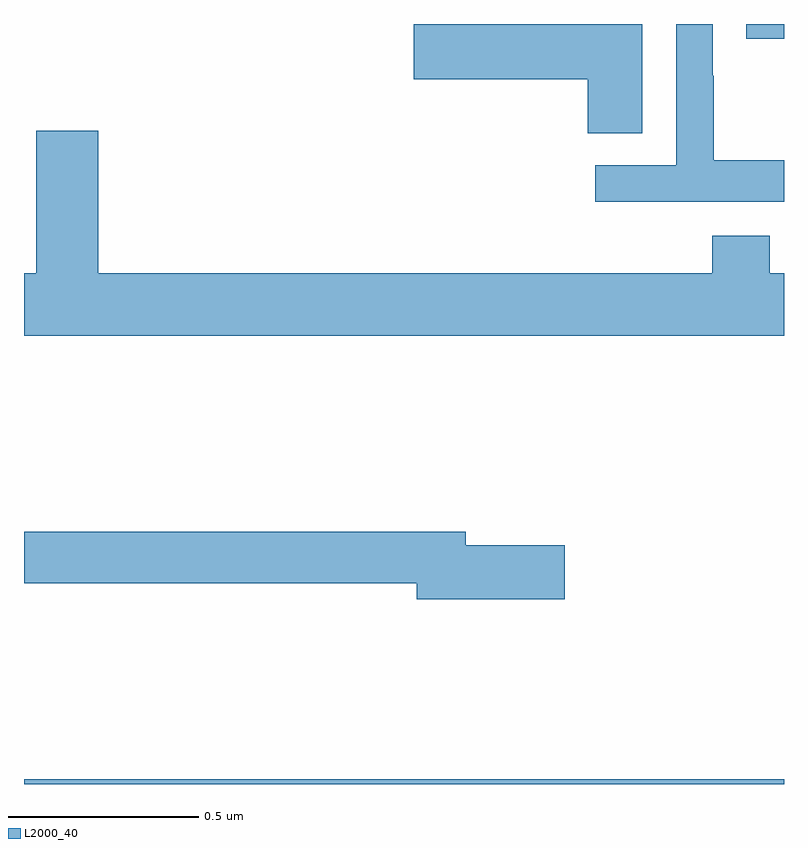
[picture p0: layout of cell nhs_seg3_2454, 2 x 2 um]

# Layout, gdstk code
import gdstk
lib = gdstk.Library(unit=1e-6, precision=1e-09)
def R(c, l, rs):  # rectangles x0, y0, x1, y1
    for r in rs: c.add(gdstk.rectangle(r[:2], r[2:], *l))
def P(c, l, *ps):  # polygons
    for p in ps: c.add(gdstk.Polygon(p, *l))
L2000_40 = (2000, 40)

nhs_seg3_2454 = lib.new_cell('nhs_seg3_2454')
R(nhs_seg3_2454, L2000_40, [(141,702.4,143,702.412), (142.901,704.361,143,704.4)])
P(nhs_seg3_2454, L2000_40, [(143,704.041),(142.815,704.041),(142.815,704.264),(142.812,704.264),(142.812,704.4),(142.716,704.4),(142.716,704.028),(142.503,704.028),(142.503,703.932),(143,703.932)],
  [(142.627,704.4),(142.026,704.4),(142.026,704.255),(142.484,704.255),(142.484,704.113),(142.627,704.113)],
  [(143,703.744),(142.963,703.744),(142.963,703.843),(142.811,703.843),(142.811,703.744),(141.196,703.744),(141.196,704.119),(141.032,704.119),(141.032,703.744),(141,703.744),(141,703.58),(143,703.58)],
  [(142.423,703.028),(142.162,703.028),(142.162,703.064),(141,703.064),(141,702.928),(142.034,702.928),(142.034,702.886),(142.423,702.886)])

lib.write_gds('nhs_seg3_2454.gds')
